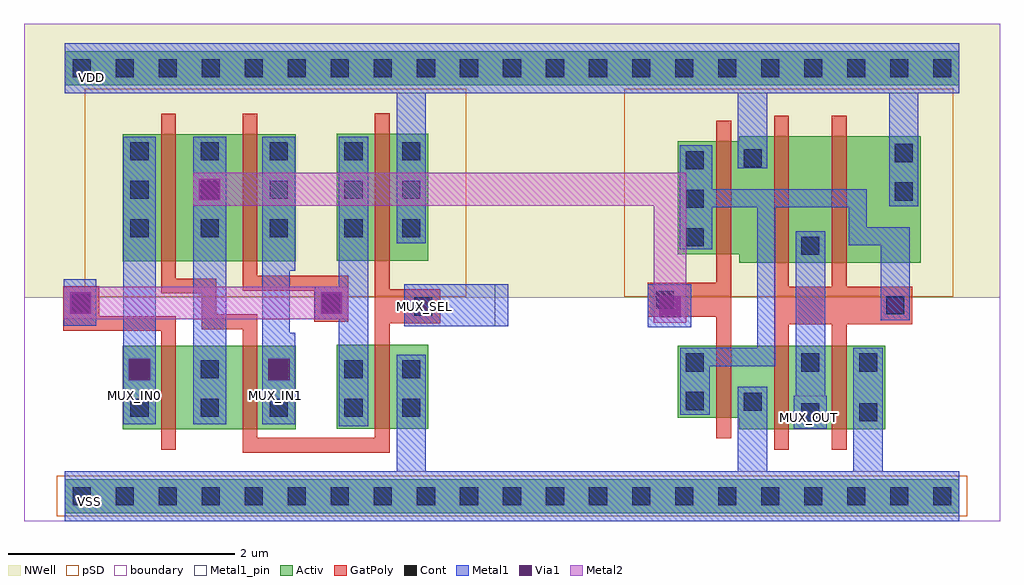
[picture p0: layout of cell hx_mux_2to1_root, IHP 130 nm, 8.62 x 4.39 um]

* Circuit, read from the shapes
.subckt hx_mux_2to1_root MUX_IN0 MUX_IN1 MUX_OUT MUX_SEL VDD VSS
XM1 n1 n2 MUX_IN0 VSS sg13_lv_nmos w=0.74u l=0.13u
XM2 MUX_IN1 MUX_SEL n1 VSS sg13_lv_nmos w=0.74u l=0.13u
XM3 VSS MUX_SEL n2 VSS sg13_lv_nmos w=0.74u l=0.13u
XM4 VSS n1 n3 VSS sg13_lv_nmos w=0.64u l=0.13u
XM5 MUX_OUT n3 VSS VSS sg13_lv_nmos w=0.74u l=0.13u m=2
XM6 n1 MUX_SEL MUX_IN0 VDD sg13_lv_pmos w=1.12u l=0.13u
XM7 MUX_IN1 n2 n1 VDD sg13_lv_pmos w=1.12u l=0.13u
XM8 VDD MUX_SEL n2 VDD sg13_lv_pmos w=1.12u l=0.13u
XM9 VDD n1 n3 VDD sg13_lv_pmos w=1u l=0.13u
XM10 MUX_OUT n3 VDD VDD sg13_lv_pmos w=1.12u l=0.13u m=2
.ends

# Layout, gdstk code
import gdstk
lib = gdstk.Library(unit=1e-6, precision=1e-09)
def R(c, l, rs):  # rectangles x0, y0, x1, y1
    for r in rs: c.add(gdstk.rectangle(r[:2], r[2:], *l))
def A(c, l, x, y, w, h, nx, ny, dx, dy):  # array of equal rectangles
    R(c, l, [(x+i*dx, y+j*dy, x+i*dx+w, y+j*dy+h) for i in range(nx) for j in range(ny)])
def P(c, l, *ps):  # polygons
    for p in ps: c.add(gdstk.Polygon(p, *l))
Activ = (1, 0)
GatPoly = (5, 0)
Cont = (6, 0)
Metal1 = (8, 0)
Metal1_pin = (8, 2)
Metal2 = (10, 0)
pSD = (14, 0)
Via1 = (19, 0)
NWell = (31, 0)
boundary = (189, 4)

hx_mux_2to1_root = lib.new_cell('hx_mux_2to1_root')
R(hx_mux_2to1_root, Activ, [(0.36,0.07,8.26,0.37), (0.87,0.81,2.4,1.55), (2.76,0.815,3.57,1.555), (0.87,2.295,2.4,3.415), (2.76,2.3,3.57,3.42), (0.36,3.85,8.26,4.15)])
P(hx_mux_2to1_root, Activ, [(6.315,2.28),(6.315,2.355),(5.775,2.355),(5.775,3.355),(6.315,3.355),(6.315,3.4),(7.92,3.4),(7.92,2.28)],
  [(6.315,0.81),(6.315,0.91),(5.775,0.91),(5.775,1.55),(7.605,1.55),(7.605,0.81)])
P(hx_mux_2to1_root, GatPoly, [(6.625,0.63),(6.625,3.58),(6.755,3.58),(6.755,2.07),(7.135,2.07),(7.135,3.58),(7.265,3.58),(7.265,2.07),(7.845,2.07),(7.845,1.74),(7.265,1.74),(7.265,0.63),(7.135,0.63),(7.135,1.74),(6.755,1.74),(6.755,0.63)],
  [(6.115,0.73),(6.115,1.805),(5.51,1.805),(5.51,2.105),(6.115,2.105),(6.115,3.535),(6.245,3.535),(6.245,0.73)],
  [(2.565,1.76),(2.565,2.035),(1.93,2.035),(1.93,3.595),(2.06,3.595),(2.06,2.165),(2.865,2.165),(2.865,1.76)],
  [(1.21,0.63),(1.21,1.68),(0.345,1.68),(0.345,2.075),(0.665,2.075),(0.665,1.81),(1.34,1.81),(1.34,0.63)],
  [(1.93,0.605),(1.93,1.695),(1.57,1.695),(1.57,2.01),(1.21,2.01),(1.21,3.595),(1.34,3.595),(1.34,2.14),(1.7,2.14),(1.7,1.825),(2.06,1.825),(2.06,0.735),(3.1,0.735),(3.1,3.6),(3.23,3.6),(3.23,2.045),(3.675,2.045),(3.675,1.745),(3.23,1.745),(3.23,0.605)])
A(hx_mux_2to1_root, Cont, 0.43, 0.14, 0.16, 0.16, 21, 2, 0.38, 3.78)
A(hx_mux_2to1_root, Cont, 5.845, 2.425, 0.16, 0.16, 1, 3, 0, 0.34)
A(hx_mux_2to1_root, Cont, 0.94, 2.505, 0.16, 0.16, 1, 3, 0, 0.34)
A(hx_mux_2to1_root, Cont, 1.56, 2.505, 0.16, 0.16, 1, 3, 0, 0.34)
A(hx_mux_2to1_root, Cont, 2.17, 2.505, 0.16, 0.16, 1, 3, 0, 0.34)
A(hx_mux_2to1_root, Cont, 2.83, 2.505, 0.16, 0.16, 1, 3, 0, 0.34)
A(hx_mux_2to1_root, Cont, 3.34, 2.505, 0.16, 0.16, 1, 3, 0, 0.34)
R(hx_mux_2to1_root, Cont, [(6.865,0.88,7.025,1.04), (7.375,0.88,7.535,1.04), (0.94,0.92,1.1,1.08), (1.56,0.92,1.72,1.08), (2.17,0.92,2.33,1.08), (2.83,0.92,2.99,1.08), (3.34,0.92,3.5,1.08), (6.355,0.975,6.515,1.135), (5.845,0.98,6.005,1.14), (0.94,1.26,1.1,1.42), (1.56,1.26,1.72,1.42), (2.17,1.26,2.33,1.42), (2.83,1.26,2.99,1.42), (3.34,1.26,3.5,1.42), (5.845,1.32,6.005,1.48), (6.865,1.32,7.025,1.48), (7.375,1.32,7.535,1.48), (3.445,1.815,3.605,1.975), (7.615,1.825,7.775,1.985), (0.42,1.845,0.58,2.005), (2.635,1.845,2.795,2.005), (5.58,1.875,5.74,2.035), (6.865,2.35,7.025,2.51), (7.69,2.83,7.85,2.99), (6.355,3.125,6.515,3.285), (7.69,3.17,7.85,3.33)])
R(hx_mux_2to1_root, Metal1, [(0.36,0,8.26,0.44), (3.29,0.44,3.55,1.47), (6.305,0.44,6.565,1.185), (7.325,0.44,7.585,1.53), (6.8,0.815,7.09,1.105), (6.8,0.815,7.09,1.105), (0.875,0.855,1.165,3.395), (1.495,0.855,1.785,3.395), (5.51,1.71,5.895,2.09), (3.36,1.72,4.275,2.09), (0.35,1.725,0.64,2.135), (3.29,2.455,3.55,3.78), (7.64,2.78,7.9,3.78), (6.305,3.115,6.565,3.78), (0.36,3.78,8.26,4.22)])
P(hx_mux_2to1_root, Metal1, [(5.795,0.94),(5.795,1.53),(6.475,1.53),(6.475,2.77),(6.08,2.77),(6.08,2.4),(5.79,2.4),(5.79,3.32),(6.08,3.32),(6.08,2.93),(7.445,2.93),(7.445,2.595),(7.825,2.595),(7.825,1.775),(7.565,1.775),(7.565,2.435),(7.285,2.435),(7.285,2.77),(6.635,2.77),(6.635,1.365),(6.055,1.365),(6.055,0.94)],
  [(6.8,0.815),(6.8,1.105),(6.815,1.105),(6.815,2.56),(7.075,2.56),(7.075,1.105),(7.09,1.105),(7.09,0.815)],
  [(2.78,0.835),(2.78,1.78),(2.57,1.78),(2.57,2.07),(2.78,2.07),(2.78,3.395),(3.04,3.395),(3.04,0.835)],
  [(2.105,0.855),(2.105,3.395),(2.395,3.395),(2.395,2.21),(2.345,2.21),(2.345,1.665),(2.395,1.665),(2.395,0.855)])
R(hx_mux_2to1_root, Metal1_pin, [(0.36,0,8.26,0.44), (6.8,0.815,7.09,1.105), (0.875,0.855,1.165,1.55), (2.105,0.855,2.395,1.55), (3.36,1.72,4.16,2.09), (0.36,3.78,8.26,4.22)])
R(hx_mux_2to1_root, Metal2, [(0.35,1.78,2.865,2.07)])
P(hx_mux_2to1_root, Metal2, [(5.56,1.75),(5.56,2.785),(1.495,2.785),(1.495,3.075),(5.85,3.075),(5.85,1.75)])
R(hx_mux_2to1_root, pSD, [(0.29,0.04,8.33,0.4), (0.535,1.98,3.905,3.82), (5.3,1.98,8.205,3.82)])
R(hx_mux_2to1_root, Via1, [(0.925,1.245,1.115,1.435), (2.155,1.245,2.345,1.435), (5.61,1.8,5.8,1.99), (0.405,1.83,0.595,2.02), (2.62,1.83,2.81,2.02), (1.545,2.835,1.735,3.025)])
R(hx_mux_2to1_root, NWell, [(0,1.97,8.62,4.39), (5.27,1.97,8.285,4.39)])
R(hx_mux_2to1_root, boundary, [(0,0,8.62,4.39)])
hx_mux_2to1_root.add(gdstk.Label('VSS', (0.58,0.175), layer=8, texttype=25))
hx_mux_2to1_root.add(gdstk.Label('VDD', (0.6,3.915), layer=8, texttype=25))
hx_mux_2to1_root.add(gdstk.Label('MUX_OUT', (6.925,0.915), layer=8, texttype=25))
hx_mux_2to1_root.add(gdstk.Label('MUX_SEL', (3.535,1.895), layer=8, texttype=25))
hx_mux_2to1_root.add(gdstk.Label('MUX_IN1', (2.225,1.105), layer=8, texttype=25))
hx_mux_2to1_root.add(gdstk.Label('MUX_IN0', (0.98,1.105), layer=8, texttype=25))

lib.write_gds('hx_mux_2to1_root.gds')
